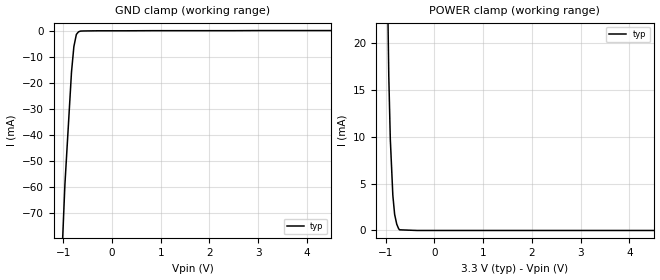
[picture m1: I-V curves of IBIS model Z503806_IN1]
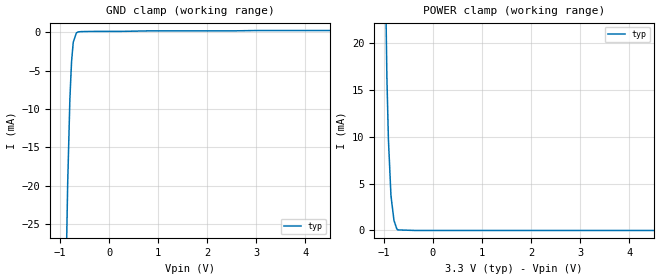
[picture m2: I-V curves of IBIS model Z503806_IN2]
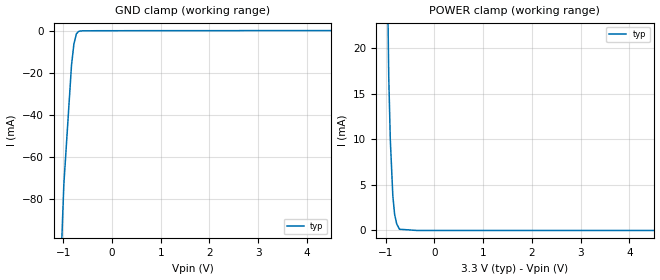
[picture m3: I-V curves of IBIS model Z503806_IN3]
| YOU ARE ONLY AUTHORIZED TO USE THIS SOFTWARE
| ACCORDING TO LICENSOR'S LICENSE RESTRICTIONS.
[IBIS Ver] 3.1
[File Name] mc74ac574n_33.ibs
[File Rev] 2.0
[Source] Measured and created by ICX Technology
[Date] Friday 7/14/00 9:08:00 AM
[Copyright]
| (C) COPYRIGHT 1993-2000
| MENTOR GRAPHICS CORPORATION
| ICX STANDARD LIBRARY, ICX PROJECT MODELING,
| ICX CUSTOM MODELING, ICX VENDOR MODEL
| ALL RIGHTS RESERVED.
| THE FOLLOWING ARE TRADEMARKS OR SERVICE MARKS OF
| MENTOR GRAPHICS CORPORATION:ICX (R), ICX STANDARD
| LIBRARY(R), ICX PROJECT MODELING(R), ICX CUSTOM
| MODELING(R), qualityIBIS(TM), MODELVIEWER(TM),
| AND MODELEDITOR(TM)
| ALL COPIES OF SOFTWARE, INCLUDING BUT NOT LIMITED TO
| ANY MODIFICATIONS, ENHANCEMENTS OR DERIVATIVE WORKS,
| MUST CONTAIN ALL MENTOR GRAPHICS CORPORATION'S
| NOTICES AND LEGENDS, INCLUDING THOSE EMBEDDED IN
| SOFTWARE AND THOSE AFFIXED TO SOFTWARE MEDIUM
| AND CONTAINER, AS RECEIVED FROM MENTOR GRAPHICS
| CORPORATION.
|  ZAP Model Builder 2.7
[Component] MC74AC574N_33
[Manufacturer] OnSemiconductor
[Package]
| variable   typ   min   max
R_pkg  .216ohms NA NA
L_pkg  5.76nH NA NA
C_pkg  1.29pF NA NA
[Pin] signal_name  model_name  R_pin  L_pin C_pin
1 _EN Z503806_IN1 .232 9.76n 1.87p
2 D0 Z503806_IN2 .224 7.26n 1.58p
3 D1 Z503806_IN2 .216 5.26n 1.29p
4 D2 Z503806_IN2 .208 3.76n 1.0p
5 D3 Z503806_IN2 .2 2.76n .71p
6 D4 Z503806_IN2 .2 2.76n .71p
7 D5 Z503806_IN2 .208 3.76n 1.0p
8 D6 Z503806_IN2 .216 5.26n 1.29p
9 D7 Z503806_IN2 .224 7.26n 1.58p
10 GND GND .232 9.76n 1.87p
11 CLK Z503806_IN3 .232 9.76n 1.87p
12 Q7 Z503806_TRI4 .224 7.26n 1.58p
13 Q6 Z503806_TRI4 .216 5.26n 1.29p
14 Q5 Z503806_TRI4 .208 3.76n 1.0p
15 Q4 Z503806_TRI4 .2 2.76n .71p
16 Q3 Z503806_TRI4 .2 2.76n .71p
17 Q2 Z503806_TRI4 .208 3.76n 1.0p
18 Q1 Z503806_TRI4 .216 5.26n 1.29p
19 Q0 Z503806_TRI4 .224 7.26n 1.58p
20 VCC POWER .232 9.76n 1.87p
| Models and submodels in the file (4): Z503806_IN1 (Input), Z503806_IN2 (Input), Z503806_IN3 (Input), Z503806_TRI4 (3-state)
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| (C) COPYRIGHT 1993-2000
| MENTOR GRAPHICS CORPORATION
| ICX STANDARD LIBRARY, ICX PROJECT MODELING,
| ICX CUSTOM MODELING, ICX VENDOR MODEL
| ALL RIGHTS RESERVED.
| THE FOLLOWING ARE TRADEMARKS OR SERVICE MARKS OF
| MENTOR GRAPHICS CORPORATION:ICX (R), ICX STANDARD
| LIBRARY(R), ICX PROJECT MODELING(R), ICX CUSTOM
| MODELING(R), qualityIBIS(TM), MODELVIEWER(TM),
| AND MODELEDITOR(TM)
| ALL COPIES OF SOFTWARE, INCLUDING BUT NOT LIMITED TO
| ANY MODIFICATIONS, ENHANCEMENTS OR DERIVATIVE WORKS,
| MUST CONTAIN ALL MENTOR GRAPHICS CORPORATION'S
| NOTICES AND LEGENDS, INCLUDING THOSE EMBEDDED IN
| SOFTWARE AND THOSE AFFIXED TO SOFTWARE MEDIUM
| AND CONTAINER, AS RECEIVED FROM MENTOR GRAPHICS
| CORPORATION.
| Model Application Version 1.89 2/18/99.
[Model] Z503806_IN1
Model_type Input
Vinl = 990.0mV
Vinh = 2.310V
C_comp 4.000pF NA NA
| variable typ   min   max
[Voltage Range] 3.300V NA NA
[GND Clamp Reference] 0.000V NA NA
[POWER Clamp Reference] 3.300V NA NA
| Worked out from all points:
|   GND clamp passes 1 mA (typ) near -0.72 V on its own axis
|   POWER clamp passes 1 mA (typ) near -0.79 V on its own axis
[GND Clamp]
-3.3V     -1.502A    NA         NA
-1.047V   -95.16mA   NA         NA
-966.3mV  -59.02mA   NA         NA
-831mV    -15.69mA   NA         NA
-782.3mV  -5.941mA   NA         NA
-731.6mV  -1.273mA   NA         NA
-687.6mV  -257.6uA   NA         NA
-648.3mV  21.69uA    NA         NA
-295.2mV  141.3uA    NA         NA
6.6V      232.1uA    NA         NA
[POWER Clamp]
-3.3V     1.68A      NA         NA
-1.149V   119.4mA    NA         NA
-1.026V   48.27mA    NA         NA
-938mV    16.37mA    NA         NA
-907mV    9.744mA    NA         NA
-855mV    3.749mA    NA         NA
-818mV    1.709mA    NA         NA
-775mV    671.8uA    NA         NA
-737mV    199.2uA    NA         NA
-718mV    71.4uA     NA         NA
-359mV    0A         NA         NA
6.6V      0A         NA         NA
| (C) COPYRIGHT 1993-2000
| MENTOR GRAPHICS CORPORATION
| ICX STANDARD LIBRARY, ICX PROJECT MODELING,
| ICX CUSTOM MODELING, ICX VENDOR MODEL
| ALL RIGHTS RESERVED.
| THE FOLLOWING ARE TRADEMARKS OR SERVICE MARKS OF
| MENTOR GRAPHICS CORPORATION:ICX (R), ICX STANDARD
| LIBRARY(R), ICX PROJECT MODELING(R), ICX CUSTOM
| MODELING(R), qualityIBIS(TM), MODELVIEWER(TM),
| AND MODELEDITOR(TM)
| ALL COPIES OF SOFTWARE, INCLUDING BUT NOT LIMITED TO
| ANY MODIFICATIONS, ENHANCEMENTS OR DERIVATIVE WORKS,
| MUST CONTAIN ALL MENTOR GRAPHICS CORPORATION'S
| NOTICES AND LEGENDS, INCLUDING THOSE EMBEDDED IN
| SOFTWARE AND THOSE AFFIXED TO SOFTWARE MEDIUM
| AND CONTAINER, AS RECEIVED FROM MENTOR GRAPHICS
| CORPORATION.
| Model Application Version 1.89 2/18/99.
[Model] Z503806_IN2
Model_type Input
Vinl = 990.0mV
Vinh = 2.310V
C_comp 4.000pF NA NA
| variable typ   min   max
[Voltage Range] 3.300V NA NA
[GND Clamp Reference] 0.000V NA NA
[POWER Clamp Reference] 3.300V NA NA
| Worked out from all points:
|   GND clamp passes 1 mA (typ) near -0.72 V on its own axis
|   POWER clamp passes 1 mA (typ) near -0.79 V on its own axis
[GND Clamp]
-3.3V     -1.569A    NA         NA
-1.005V   -77.17mA   NA         NA
-845.8mV  -19.9mA    NA         NA
-800.6mV  -8.725mA   NA         NA
-766.7mV  -3.843mA   NA         NA
-731.3mV  -1.277mA   NA         NA
-667.5mV  -71.31uA   NA         NA
-628mV    58.24uA    NA         NA
768.8mV   177.9uA    NA         NA
6.6V      230.9uA    NA         NA
[POWER Clamp]
-3.3V     1.679A     NA         NA
-1.124V   105.3mA    NA         NA
-1.026V   48.74mA    NA         NA
-938mV    16.4mA     NA         NA
-907mV    9.737mA    NA         NA
-855mV    3.727mA    NA         NA
-794mV    1.082mA    NA         NA
-737mV    186uA      NA         NA
-718mV    62.1uA     NA         NA
-359mV    0A         NA         NA
6.6V      0A         NA         NA
| (C) COPYRIGHT 1993-2000
| MENTOR GRAPHICS CORPORATION
| ICX STANDARD LIBRARY, ICX PROJECT MODELING,
| ICX CUSTOM MODELING, ICX VENDOR MODEL
| ALL RIGHTS RESERVED.
| THE FOLLOWING ARE TRADEMARKS OR SERVICE MARKS OF
| MENTOR GRAPHICS CORPORATION:ICX (R), ICX STANDARD
| LIBRARY(R), ICX PROJECT MODELING(R), ICX CUSTOM
| MODELING(R), qualityIBIS(TM), MODELVIEWER(TM),
| AND MODELEDITOR(TM)
| ALL COPIES OF SOFTWARE, INCLUDING BUT NOT LIMITED TO
| ANY MODIFICATIONS, ENHANCEMENTS OR DERIVATIVE WORKS,
| MUST CONTAIN ALL MENTOR GRAPHICS CORPORATION'S
| NOTICES AND LEGENDS, INCLUDING THOSE EMBEDDED IN
| SOFTWARE AND THOSE AFFIXED TO SOFTWARE MEDIUM
| AND CONTAINER, AS RECEIVED FROM MENTOR GRAPHICS
| CORPORATION.
| Model Application Version 1.89 2/18/99.
[Model] Z503806_IN3
Model_type Input
Vinl = 990.0mV
Vinh = 2.310V
C_comp 4.000pF NA NA
| variable typ   min   max
[Voltage Range] 3.300V NA NA
[GND Clamp Reference] 0.000V NA NA
[POWER Clamp Reference] 3.300V NA NA
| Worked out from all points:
|   GND clamp passes 1 mA (typ) near -0.71 V on its own axis
|   POWER clamp passes 1 mA (typ) near -0.79 V on its own axis
[GND Clamp]
-3.3V     -2.143A    NA         NA
-1.073V   -126.2mA   NA         NA
-988.1mV  -73.19mA   NA         NA
-830.8mV  -16.3mA    NA         NA
-782.1mV  -6.321mA   NA         NA
-730.7mV  -1.396mA   NA         NA
-686.8mV  -300.1uA   NA         NA
-323.7mV  74.11uA    NA         NA
6.6V      150.7uA    NA         NA
[POWER Clamp]
-3.3V     1.882A     NA         NA
-1.119V   110.2mA    NA         NA
-1.036V   57.19mA    NA         NA
-939mV    16.89mA    NA         NA
-907mV    9.989mA    NA         NA
-855mV    3.8mA      NA         NA
-818mV    1.755mA    NA         NA
-775mV    710.3uA    NA         NA
-718mV    134.1uA    NA         NA
-359mV    0A         NA         NA
6.6V      0A         NA         NA
